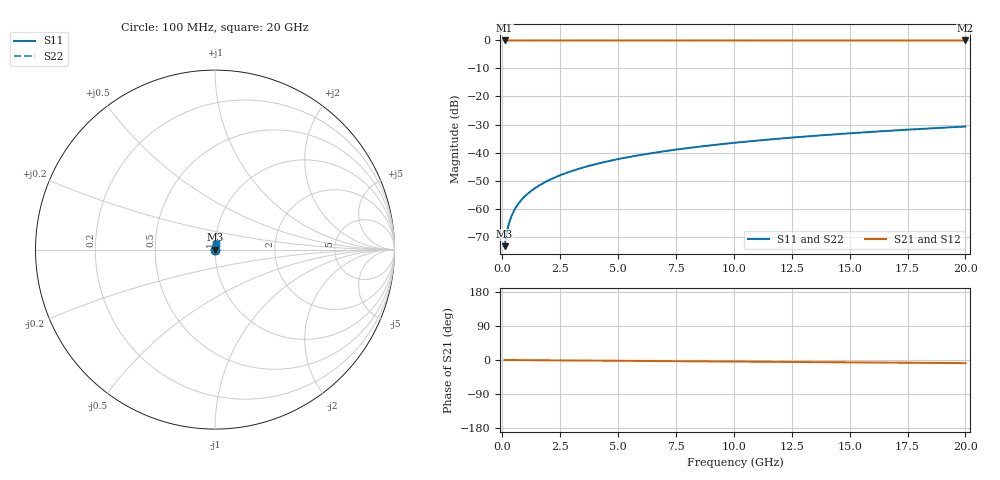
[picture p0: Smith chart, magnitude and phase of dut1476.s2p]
! Touchstone file exported from HFSS 2026.1.0
!  File:  C:/ffzhzh/LocalFiles/Ansys_Project_Files/temp_train_TSV_1476_1783198485_55132.aedt
!  Generated:  04:56:11 AM Jul  5, 2026
!  Design:  TSV
!  Project:  temp_train_TSV_1476_1783198485_55132
! Variables:
!  h_bsmrdl = 2um
!  h_ox = 20um
!  h_rdl = 5um
!  h_sub = 77.36um
!  h_tmrdl = 5um
!  h_tsv = 77.36um
!  h_via = 3um
!  l_bsmrdl = 300um
!  l_sub = 421.86um
!  l_tmrdl = 200um
!  m_sub = 200um
!  pitch = 55.43um
!  r_tsv = 10.93um
!  s_tmrdl = 10um
!  w_bsmrdl = 18um
!  w_sub = 500um
!  w_tmrdl = 12um
!  x_tsv_center1 = 206um
!  x_tsv_center2 = 524um
!  x_tsv_center3 = 736um
!  x_tsv_center4 = 1054um
!  x_tsv_center5 = 1266um
!  x_tsv_center6 = 1584um
# GHz S MA R 50.000000
! Terminal data exported
! Port[1] = TSV1_1_T1
! Port[2] = TSV1_1_T2
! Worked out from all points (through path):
!   200 points, 100 MHz to 20 GHz, reference 50 ohm
!   highest |S21| = 0.00 dB at 100 MHz (marker M1); lowest = 0.0 dB at 20 GHz (marker M2)
!   group delay of S21, straight-line fit = 1.15 ps
!   lowest |S11| = -73.4 dB at 100 MHz (marker M3), VSWR 1.00, Z = 50 + j0.0185 ohm
!   |S11| at or under -10 dB: start of sweep to end of sweep
!   |S22| runs from -73.4 to -30.7 dB; largest |S21 - S12| = 1.1e-15
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0.1  0.0002135 60.1  0.9999 -0.0  0.9999 -0.0  0.0002135 60.1
! Gamma 0 0 0 0
! Port Impedance 50 0 50 0
0.2  0.000386 72.3  0.9999 -0.1  0.9999 -0.1  0.000386 72.3
0.3  0.0005621 76.2  0.9999 -0.1  0.9999 -0.1  0.0005621 76.2
0.4  0.0007353 77.8  0.9998 -0.2  0.9998 -0.2  0.0007353 77.8
0.5  0.0009039 78.7  0.9998 -0.2  0.9998 -0.2  0.0009039 78.7
0.6  0.001068 79.2  0.9998 -0.3  0.9998 -0.3  0.001068 79.2
0.7  0.001228 79.6  0.9998 -0.3  0.9998 -0.3  0.001228 79.6
0.9  0.00154 80.2  0.9997 -0.4  0.9997 -0.4  0.00154 80.2
1.1  0.001844 80.7  0.9997 -0.5  0.9997 -0.5  0.001844 80.7
1.3  0.002145 81.2  0.9997 -0.6  0.9997 -0.6  0.002145 81.2
1.6  0.002594 81.8  0.9997 -0.7  0.9997 -0.7  0.002594 81.8
1.9  0.003041 82.3  0.9996 -0.8  0.9996 -0.8  0.003041 82.3
2.6  0.004084 83.1  0.9996 -1.1  0.9996 -1.1  0.004084 83.1
3.5  0.005422 83.5  0.9995 -1.5  0.9995 -1.5  0.005422 83.5
4.2  0.006458 83.6  0.9995 -1.8  0.9995 -1.8  0.006458 83.7
5  0.007635 83.7  0.9994 -2.1  0.9994 -2.1  0.007635 83.7
6.8  0.01026 83.5  0.9993 -2.8  0.9993 -2.8  0.01026 83.5
8.3  0.01244 83.2  0.9992 -3.4  0.9992 -3.4  0.01244 83.2
10.1  0.01503 82.7  0.9991 -4.2  0.9991 -4.2  0.01503 82.7
13.4  0.01976 81.8  0.9989 -5.6  0.9989 -5.6  0.01976 81.8
16.7  0.02446 80.7  0.9987 -6.9  0.9987 -6.9  0.02446 80.7
20  0.02911 79.5  0.9984 -8.3  0.9984 -8.3  0.02911 79.5
